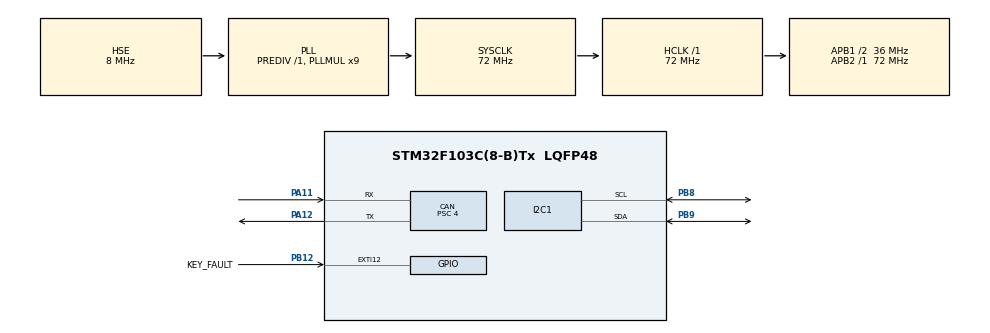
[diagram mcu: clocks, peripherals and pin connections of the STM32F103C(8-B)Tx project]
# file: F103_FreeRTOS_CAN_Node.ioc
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CAN.ABOM=ENABLE
CAN.BS1=CAN_BS1_15TQ
CAN.BS2=CAN_BS2_2TQ
CAN.CalculateBaudRate=500000
CAN.CalculateTimeBit=2000
CAN.CalculateTimeQuantum=111.11111111111111
CAN.NART=ENABLE
CAN.Prescaler=4
FREERTOS.BinarySemaphores01=Sem_Fault,Dynamic,NULL,Available
FREERTOS.Mutexes01=Mutex_CAN_Tx,Dynamic,NULL,Available
FREERTOS.Tasks01=defaultTask,24,128,StartDefaultTask,Default,NULL,Dynamic,NULL,NULL;Task_Door,24,128,App_DoorTask,Default,NULL,Dynamic,NULL,NULL;Task_TPMS,16,128,App_TPMSTask,Default,NULL,Dynamic,NULL,NULL;Task_Fault,40,128,App_FaultTask,Default,NULL,Dynamic,NULL,NULL
Mcu.Family=STM32F1
Mcu.Name=STM32F103C(8-B)Tx
Mcu.Package=LQFP48
NVIC.EXTI15_10_IRQn=true\:5\:0\:false\:false\:true\:true\:true\:true\:true
NVIC.PriorityGroup=NVIC_PRIORITYGROUP_4
NVIC.TIM4_IRQn=true\:15\:0\:false\:false\:true\:false\:false\:true\:true
NVIC.TimeBase=TIM4_IRQn
NVIC.TimeBaseIP=TIM4
NVIC.USB_HP_CAN1_TX_IRQn=true\:5\:0\:false\:false\:true\:true\:true\:true\:true
NVIC.USB_LP_CAN1_RX0_IRQn=true\:5\:0\:false\:false\:true\:true\:true\:true\:true
PA11.Mode=CAN_Activate
PA11.Signal=CAN_RX
PA12.Mode=CAN_Activate
PA12.Signal=CAN_TX
PA13.Mode=Serial_Wire
PA13.Signal=SYS_JTMS-SWDIO
PA14.Mode=Serial_Wire
PA14.Signal=SYS_JTCK-SWCLK
PB12.GPIO_Label=KEY_FAULT
PB12.GPIO_PuPd=GPIO_PULLDOWN
PB12.Signal=GPXTI12
PB8.Mode=I2C
PB8.Signal=I2C1_SCL
PB9.Mode=I2C
PB9.Signal=I2C1_SDA
PD0-OSC_IN.Mode=HSE-External-Oscillator
PD0-OSC_IN.Signal=RCC_OSC_IN
PD1-OSC_OUT.Mode=HSE-External-Oscillator
PD1-OSC_OUT.Signal=RCC_OSC_OUT
ProjectManager.HeapSize=0x200
ProjectManager.StackSize=0x400
ProjectManager.TargetToolchain=MDK-ARM V5.32
RCC.AHBFreq_Value=72000000
RCC.APB1CLKDivider=RCC_HCLK_DIV2
RCC.APB1Freq_Value=36000000
RCC.APB1TimFreq_Value=72000000
RCC.APB2Freq_Value=72000000
RCC.APB2TimFreq_Value=72000000
RCC.HCLKFreq_Value=72000000
RCC.PLLMUL=RCC_PLL_MUL9
RCC.PLLSourceVirtual=RCC_PLLSOURCE_HSE
RCC.SYSCLKFreq_VALUE=72000000
RCC.SYSCLKSource=RCC_SYSCLKSOURCE_PLLCLK
RCC.USBFreq_Value=72000000
VP_FREERTOS_VS_CMSIS_V2.Mode=CMSIS_V2
VP_SYS_VS_tim4.Mode=TIM4
board=custom

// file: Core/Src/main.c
/* USER CODE BEGIN Header */
/**
  ******************************************************************************
  * @file           : main.c
  * @brief          : Main program body
  ******************************************************************************
  * @attention
  *
  * Copyright (c) 2026 STMicroelectronics.
  * All rights reserved.
  *
  * This software is licensed under terms that can be found in the LICENSE file
  * in the root directory of this software component.
  * If no LICENSE file comes with this software, it is provided AS-IS.
  *
  ******************************************************************************
  */
/* USER CODE END Header */
#include "main.h"
#include "cmsis_os.h"
#include "can.h"
#include "i2c.h"
#include "gpio.h"

void SystemClock_Config(void);
void MX_FREERTOS_Init(void);

int main(void)
{

  /* MCU Configuration--------------------------------------------------------*/

  /* Reset of all peripherals, Initializes the Flash interface and the Systick. */
  HAL_Init();

  /* Configure the system clock */
  SystemClock_Config();

  /* Initialize all configured peripherals */
  MX_GPIO_Init();
  MX_I2C1_Init();
  MX_CAN_Init();
  /* USER CODE BEGIN 2 */
	CAN_FilterTypeDef canFilter;
  canFilter.FilterBank = 0;                       // 使用0号过滤器
  canFilter.FilterMode = CAN_FILTERMODE_IDMASK;   // 掩码模式
  canFilter.FilterScale = CAN_FILTERSCALE_32BIT;  // 32位宽
  canFilter.FilterIdHigh = 0x0000;
  canFilter.FilterIdLow = 0x0000;
  canFilter.FilterMaskIdHigh = 0x0000;
  canFilter.FilterMaskIdLow = 0x0000;             // 掩码全0，代表接收所有ID的报文（为了后期OTA预留）
  canFilter.FilterFIFOAssignment = CAN_RX_FIFO0;  // 绑定到FIFO0
  canFilter.FilterActivation = ENABLE;            // 激活过滤器
  canFilter.SlaveStartFilterBank = 14;

	// 1. 配置过滤器
  if (HAL_CAN_ConfigFilter(&hcan, &canFilter) != HAL_OK) {
      Error_Handler();
  }

  // 2. 核心：正式启动 CAN 外设硬件！
  if (HAL_CAN_Start(&hcan) != HAL_OK) {
      Error_Handler();
  }

  /* USER CODE END 2 */

  /* Init scheduler */
  osKernelInitialize();  /* Call init function for freertos objects (in cmsis_os2.c) */
  MX_FREERTOS_Init();

  /* Start scheduler */
  osKernelStart();

  /* We should never get here as control is now taken by the scheduler */

  /* Infinite loop */
  while (1)
  {

  }
}

void SystemClock_Config(void)
{
  RCC_OscInitTypeDef RCC_OscInitStruct = {0};
  RCC_ClkInitTypeDef RCC_ClkInitStruct = {0};

  /** Initializes the RCC Oscillators according to the specified parameters
  * in the RCC_OscInitTypeDef structure.
  */
  RCC_OscInitStruct.OscillatorType = RCC_OSCILLATORTYPE_HSE;
  RCC_OscInitStruct.HSEState = RCC_HSE_ON;
  RCC_OscInitStruct.HSEPredivValue = RCC_HSE_PREDIV_DIV1;
  RCC_OscInitStruct.HSIState = RCC_HSI_ON;
  RCC_OscInitStruct.PLL.PLLState = RCC_PLL_ON;
  RCC_OscInitStruct.PLL.PLLSource = RCC_PLLSOURCE_HSE;
  RCC_OscInitStruct.PLL.PLLMUL = RCC_PLL_MUL9;
  if (HAL_RCC_OscConfig(&RCC_OscInitStruct) != HAL_OK)
  {
    Error_Handler();
  }

  /** Initializes the CPU, AHB and APB buses clocks
  */
  RCC_ClkInitStruct.ClockType = RCC_CLOCKTYPE_HCLK|RCC_CLOCKTYPE_SYSCLK
                              |RCC_CLOCKTYPE_PCLK1|RCC_CLOCKTYPE_PCLK2;
  RCC_ClkInitStruct.SYSCLKSource = RCC_SYSCLKSOURCE_PLLCLK;
  RCC_ClkInitStruct.AHBCLKDivider = RCC_SYSCLK_DIV1;
  RCC_ClkInitStruct.APB1CLKDivider = RCC_HCLK_DIV2;
  RCC_ClkInitStruct.APB2CLKDivider = RCC_HCLK_DIV1;

  if (HAL_RCC_ClockConfig(&RCC_ClkInitStruct, FLASH_LATENCY_2) != HAL_OK)
  {
    Error_Handler();
  }
}

/* USER CODE BEGIN 4 */
extern osSemaphoreId_t Sem_FaultHandle;

// 重写 HAL 库的外部中断回调函数
void HAL_GPIO_EXTI_Callback(uint16_t GPIO_Pin)
{
    // 判断是不是我们 PB12 (KEY_FAULT) 触发的中断
    if(GPIO_Pin == KEY_FAULT_Pin)
    {
        // 极其轻量级的操作：只释放信号量，绝不在这里发 CAN 报文！
        osSemaphoreRelease(Sem_FaultHandle);
    }
}
/* USER CODE END 4 */

void HAL_TIM_PeriodElapsedCallback(TIM_HandleTypeDef *htim)
{
  if (htim->Instance == TIM4)
  {
    HAL_IncTick();
  }
}

void Error_Handler(void)
{
  __disable_irq();
  while (1)
  {
  }
}

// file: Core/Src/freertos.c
/* USER CODE BEGIN Header */
/**
  ******************************************************************************
  * File Name          : freertos.c
  * Description        : Code for freertos applications
  ******************************************************************************
  * @attention
  *
  * Copyright (c) 2026 STMicroelectronics.
  * All rights reserved.
  *
  * This software is licensed under terms that can be found in the LICENSE file
  * in the root directory of this software component.
  * If no LICENSE file comes with this software, it is provided AS-IS.
  *
  ******************************************************************************
  */
/* USER CODE END Header */

#include "FreeRTOS.h"
#include "task.h"
#include "main.h"
#include "cmsis_os.h"

/* USER CODE BEGIN Includes */
#include "oled.h"
#include "can.h"
/* USER CODE END Includes */

/* USER CODE BEGIN Variables */
uint8_t  g_door_status = 0;   // 车门状态: 0=关闭, 1=打开
uint16_t g_tpms_value  = 250; // 胎压数值: 默认 250 kPa
uint8_t  g_fault_code  = 0;   // 故障码: 0=正常, 1=发动机故障等

/* USER CODE END Variables */
/* Definitions for defaultTask */
osThreadId_t defaultTaskHandle;
const osThreadAttr_t defaultTask_attributes = {
  .name = "defaultTask",
  .stack_size = 128 * 4,
  .priority = (osPriority_t) osPriorityNormal,
};
/* Definitions for Task_Door */
osThreadId_t Task_DoorHandle;
const osThreadAttr_t Task_Door_attributes = {
  .name = "Task_Door",
  .stack_size = 128 * 4,
  .priority = (osPriority_t) osPriorityNormal,
};
/* Definitions for Task_TPMS */
osThreadId_t Task_TPMSHandle;
const osThreadAttr_t Task_TPMS_attributes = {
  .name = "Task_TPMS",
  .stack_size = 128 * 4,
  .priority = (osPriority_t) osPriorityBelowNormal,
};
/* Definitions for Task_Fault */
osThreadId_t Task_FaultHandle;
const osThreadAttr_t Task_Fault_attributes = {
  .name = "Task_Fault",
  .stack_size = 128 * 4,
  .priority = (osPriority_t) osPriorityHigh,
};
/* Definitions for Mutex_CAN_Tx */
osMutexId_t Mutex_CAN_TxHandle;
const osMutexAttr_t Mutex_CAN_Tx_attributes = {
  .name = "Mutex_CAN_Tx"
};
/* Definitions for Sem_Fault */
osSemaphoreId_t Sem_FaultHandle;
const osSemaphoreAttr_t Sem_Fault_attributes = {
  .name = "Sem_Fault"
};

/* USER CODE BEGIN FunctionPrototypes */
void Send_CAN_Msg(uint32_t stdId, uint8_t *data, uint8_t len);
/* USER CODE END FunctionPrototypes */

void StartDefaultTask(void *argument);
void App_DoorTask(void *argument);
void App_TPMSTask(void *argument);
void App_FaultTask(void *argument);

void MX_FREERTOS_Init(void); /* (MISRA C 2004 rule 8.1) */

void MX_FREERTOS_Init(void) {
  /* Create the mutex(es) */
  /* creation of Mutex_CAN_Tx */
  Mutex_CAN_TxHandle = osMutexNew(&Mutex_CAN_Tx_attributes);

  /* Create the semaphores(s) */
  /* creation of Sem_Fault */
  Sem_FaultHandle = osSemaphoreNew(1, 0, &Sem_Fault_attributes);

  /* Create the thread(s) */
  /* creation of defaultTask */
  defaultTaskHandle = osThreadNew(StartDefaultTask, NULL, &defaultTask_attributes);

  /* creation of Task_Door */
  Task_DoorHandle = osThreadNew(App_DoorTask, NULL, &Task_Door_attributes);

  /* creation of Task_TPMS */
  Task_TPMSHandle = osThreadNew(App_TPMSTask, NULL, &Task_TPMS_attributes);

  /* creation of Task_Fault */
  Task_FaultHandle = osThreadNew(App_FaultTask, NULL, &Task_Fault_attributes);

}

/* USER CODE BEGIN Header_StartDefaultTask */
/*
 * 函数名：  StartDefaultTask
 * 功能描述：系统默认任务（UI线程）。负责OLED屏幕的初始化，以及周期性（100ms）刷新显示全局变量中的车门状态、胎压数值和故障信息。
 * 输入参数：argument --> FreeRTOS任务入口传参，本工程中未使用
 * 输出参数：无
 * 返回值：  无 (任务函数内部为死循环，永不返回)
 */
void StartDefaultTask(void *argument)
{
  /* USER CODE BEGIN StartDefaultTask */
  // 1. 任务启动时，只执行一次初始化和静态界面的绘制
  OLED_Init();
  OLED_Clear();
  OLED_PrintString(0, 0, "Door :");
  OLED_PrintString(0, 2, "TPMS :");
  OLED_PrintString(0, 4, "Fault:");

  /* Infinite loop */
  for(;;)
  {
    // 2. 动态刷新车门状态
    if(g_door_status == 0){
        OLED_PrintString(6, 0, "Closed "); // 多留点空格覆盖旧字符
    }
		else{
        OLED_PrintString(6, 0, "Opened ");
    }

    // 3. 动态刷新胎压数值 (使用你驱动里的10进制打印函数)
    OLED_PrintSignedVal(6, 2, g_tpms_value);
    OLED_PrintString(10, 2, "kPa ");

    // 4. 动态刷新故障状态
    if(g_fault_code == 0){
        OLED_PrintString(6, 4, "OK   ");
    }
		else{
        OLED_PrintString(6, 4, "ERROR");
    }

    // 5. 延时 100ms (10FPS 的刷新率对肉眼足够了，且不占用太多CPU)
    osDelay(100);
  }
  /* USER CODE END StartDefaultTask */
}
/* USER CODE END Header_StartDefaultTask */

/* USER CODE BEGIN Header_App_DoorTask */
/*
 * 函数名：  App_DoorTask
 * 功能描述：车门状态监测任务。周期性读取车门状态（当前为翻转模拟），并调用线程安全的CAN发送接口，以 0x101 ID 周期性发送车门心跳报文。
 * 输入参数：argument --> FreeRTOS任务入口传参，本工程中未使用
 * 输出参数：无
 * 返回值：  无 (任务函数内部为死循环，永不返回)
 */
void App_DoorTask(void *argument)
{
  /* USER CODE BEGIN App_DoorTask */
  uint8_t door_data[1]; // 车门状态只需要 1 个字节

  /* Infinite loop */
  for(;;)
  {
    // 1. 模拟车门状态的翻转变化(演示用，比如每隔2秒开/关一次)
    // 真实场景下这里应该是读取某个 GPIO 引脚的电平
    g_door_status = !g_door_status;

    // 2. 封装数据包
    door_data[0] = g_door_status;

    // 3. 调用线程安全接口，发送车门心跳报文 (ID 设为 0x101)
    Send_CAN_Msg(0x101, door_data, 1);

    // 4. 车门数据不需要像高频传感器那样发太快，2000ms 发一次即可
    osDelay(2000);
  }
  /* USER CODE END App_DoorTask */
}
/* USER CODE END Header_App_DoorTask */

/* USER CODE BEGIN Header_App_TPMSTask */
/*
 * 函数名：  App_TPMSTask
 * 功能描述：胎压数据采集任务。周期性读取胎压数值（当前为递增模拟），将16位数据拆分为高低字节后，通过CAN总线以 0x201 ID 发送数据帧。
 * 输入参数：argument --> FreeRTOS任务入口传参，本工程中未使用
 * 输出参数：无
 * 返回值：  无 (任务函数内部为死循环，永不返回)
 */
void App_TPMSTask(void *argument)
{
  /* USER CODE BEGIN App_TPMSTask */
  uint8_t can_data[2]; // 胎压数据准备发 2 个字节

  /* Infinite loop */
  for(;;)
  {
    // 1. 模拟胎压数值变化 (假设全局变量 g_tpms_value 之前已经定义了)
    g_tpms_value++;
    if(g_tpms_value > 260) g_tpms_value = 240;

    // 2. 数据拆包封装 (高位在前，低位在后，方便 i.MX6ULL 侧解析)
    can_data[0] = (g_tpms_value >> 8) & 0xFF;
    can_data[1] = g_tpms_value & 0xFF;

    // 3. 调用刚才写的接口，通过 CAN 总线发送！(ID设为0x201)
    Send_CAN_Msg(0x201, can_data, 2);

    // 4. 睡 500ms，把 CPU 让给别人
    osDelay(500);
  }
  /* USER CODE END App_TPMSTask */
}
/* USER CODE END Header_App_TPMSTask */

/* USER CODE BEGIN Header_App_FaultTask */
/*
 * 函数名：  App_FaultTask
 * 功能描述：紧急故障处理任务（最高优先级）。平时阻塞等待二值信号量，完全让出CPU；当外部按键中断释放信号量时，瞬间苏醒抢占总线，发送 0x050 ID 的最高级报警帧。
 * 输入参数：argument --> FreeRTOS任务入口传参，本工程中未使用
 * 输出参数：无
 * 返回值：  无 (任务函数内部为死循环，永不返回)
 */
void App_FaultTask(void *argument)
{
  /* USER CODE BEGIN App_FaultTask */
  // 定义一帧极其严重的故障码 (比如 8个字节全为 0xFF)
  uint8_t fault_payload[8] = {0xFF, 0xFF, 0xFF, 0xFF, 0xFF, 0xFF, 0xFF, 0xFF};

  /* Infinite loop */
  for(;;)
  {
    // 1. 死等信号量：如果没有按键按下，这个任务会永远在这里沉睡，完全不消耗 CPU
    if (osSemaphoreAcquire(Sem_FaultHandle, osWaitForever) == osOK)//获取成功的瞬间，FreeRTOS 的底层会自动把信号量拿走
    {
        // 2. 拿到信号量了！瞬间苏醒！

        // 更新全局变量，让你的 OLED 任务把 Fault: 变成 ERROR
        g_fault_code = 1;

        // 3. 抢占总线，发送最高优先级 ID (0x050) 的故障报文
        Send_CAN_Msg(0x050, fault_payload, 8);

        // 4. 硬件按键消抖延时 (防止手抖一次触发好几帧)
        osDelay(200);

        // 演示用：过2秒后把故障码清零，OLED 恢复 OK
        osDelay(2000);
        g_fault_code = 0;
    }
  }
  /* USER CODE END App_FaultTask */
}
/* USER CODE END Header_App_FaultTask */

/* USER CODE BEGIN Application */
extern CAN_HandleTypeDef hcan;      // 引入 main.c 里的 CAN 句柄
extern osMutexId_t Mutex_CAN_TxHandle; // 引入 CubeMX 生成的互斥锁句柄

/*
 * 函数名：		Send_CAN_Msg
 * 功能描述：	线程安全的CAN报文发送接口。利用FreeRTOS互斥锁防止多任务同时抢占CAN外设，并等待硬件邮箱有空余时发送标准数据帧。
 * 输入参数：	stdId --> CAN标准帧的报文ID（如 0x101, 0x201 等）
 * 						data  --> 指向准备发送的数据数组的指针
 * 						len   --> 要发送的数据长度（DLC），范围0~8字节
 * 输出参数：	无
 * 返回值：		无
 */
void Send_CAN_Msg(uint32_t stdId, uint8_t *data, uint8_t len)
{
    CAN_TxHeaderTypeDef txHeader;
    uint32_t txMailbox;

    txHeader.StdId = stdId;
    txHeader.ExtId = 0;
    txHeader.IDE = CAN_ID_STD;
    txHeader.RTR = CAN_RTR_DATA;
    txHeader.DLC = len;

    // 1. 获取互斥锁（最多等 10ms，拿不到就算了，绝不死等）
    if (osMutexAcquire(Mutex_CAN_TxHandle, 10) == osOK)
    {
        // 2. 防死锁核心：如果CAN总线断开导致邮箱满了，最多等 50ms。
        // 如果 50ms 还没空位，直接丢弃这包数据，释放互斥锁，保全整个系统的运行！
        uint32_t timeout = 0;
        while(HAL_CAN_GetTxMailboxesFreeLevel(&hcan) == 0) {
            osDelay(1);
            timeout++;
            if(timeout > 50) {
                osMutexRelease(Mutex_CAN_TxHandle); // 必须先释放锁
                return; // 直接退出，丢包
            }
        }

        // 3. 把数据填入邮箱发送
        HAL_CAN_AddTxMessage(&hcan, &txHeader, data, &txMailbox);

        // 4. 发送完毕，释放互斥锁
        osMutexRelease(Mutex_CAN_TxHandle);
    }
}
/* USER CODE END Application */
